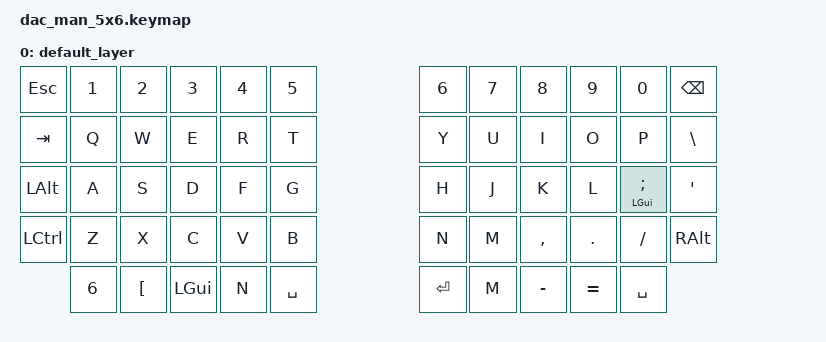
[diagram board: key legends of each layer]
#include <behaviors.dtsi>
#include <dt-bindings/zmk/keys.h>
#include <dt-bindings/zmk/bt.h>

#define DEFAULT 0

/ {
    keymap {
        compatible = "zmk,keymap";

        default_layer {
// Commented layout is not actual layout.
// -------------------------------------------------------------------------------------------------------------------------
// |   ESC   |    1    |    2    |    3    |    4    |    5    |                   |    6    |    7    |    8    |    9    |    0    |  BSPC   |
// |   TAB   |    Q    |    W    |    E    |    R    |    T    |                   |    Y    |    U    |    I    |    O    |    P    |    \    |
// |  LALT   |    A    |    S    |    D    |    F    |    G    |                   |    H    |    J    |    K    |    L    |    ;    |    '    |
// |  LCTRL  |    Z    |    X    |    C    |    V    |    B    |                   |    N    |    M    |    ,    |    .    |    /    |  RALT   |
//                     |    [    |    ]    |                                                           |    -    |    =    |
//                               | MO lay 1| SPACE   |                   | ENTER   | MO lay 2|
//                                         |   TAB   |   HOME  |   END   |   DEL   |
            bindings = <
&kp ESC    &kp N1     &kp N2    &kp N3     &kp N4     &kp N5                          &kp N6     &kp N7     &kp N8     &kp N9     &kp N0         &kp BSPC
&kp TAB    &kp Q      &kp W     &kp E      &kp R      &kp T                           &kp Y      &kp U      &kp I      &kp O      &kp P          &kp BSLH
&kp LALT   &kp A      &kp S     &kp D      &kp F      &kp G                           &kp H      &kp J      &kp K      &kp L      &mt LGUI SEMI  &kp SQT
&kp LCTRL  &kp Z      &kp X     &kp C      &kp V      &kp B                           &kp N      &kp M      &kp COMMA  &kp DOT    &kp FSLH       &kp RALT
           &kp N6     &kp LBKT  &kp LGUI   &kp N      &kp SPACE                       &kp ENTER  &kp M      &kp MINUS  &kp EQUAL  &kp SPACE
           >;
        };
   };
};
